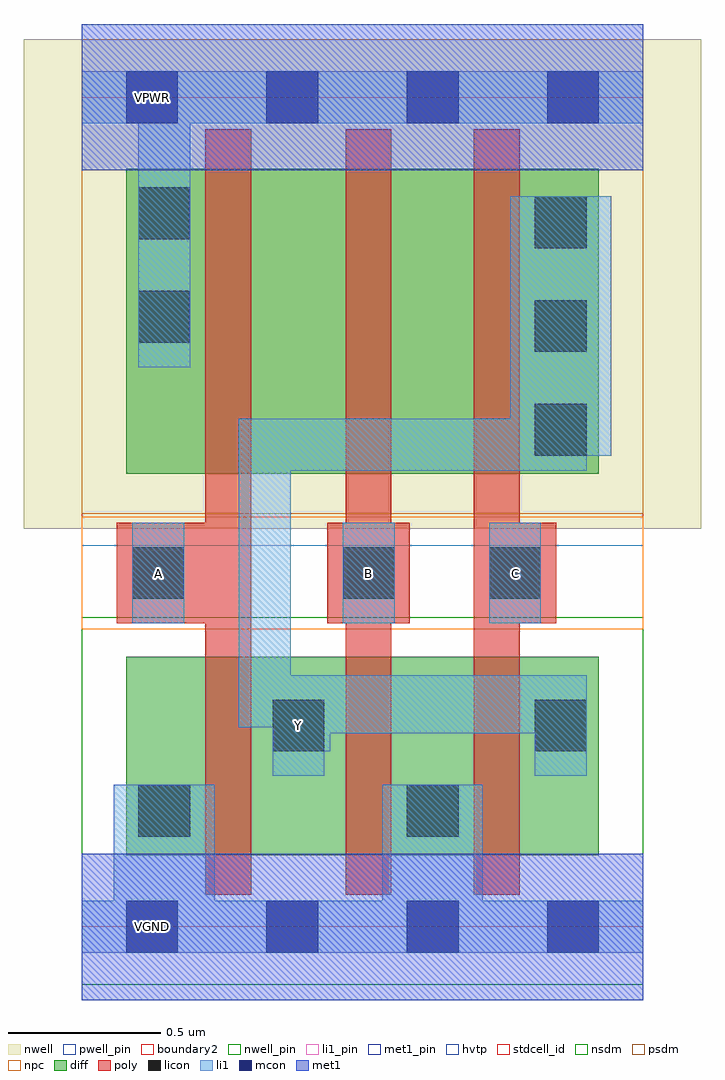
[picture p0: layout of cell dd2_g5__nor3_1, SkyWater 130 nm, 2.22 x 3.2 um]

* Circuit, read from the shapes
.subckt dd2_g5__nor3_1 A B C VGND VNB VPB VPWR Y
XM1 Y A VGND VNB sky130_fd_pr__nfet_01v8 w=0.65 l=0.15
XM2 VGND B Y VNB sky130_fd_pr__nfet_01v8 w=0.65 l=0.15
XM3 Y C VGND VNB sky130_fd_pr__nfet_01v8 w=0.65 l=0.15
XM4 n1 A VPWR VPB sky130_fd_pr__pfet_01v8_hvt w=1 l=0.15
XM5 n2 B n1 VPB sky130_fd_pr__pfet_01v8_hvt w=1 l=0.15
XM6 Y C n2 VPB sky130_fd_pr__pfet_01v8_hvt w=1 l=0.15
.ends

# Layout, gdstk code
import gdstk
lib = gdstk.Library(unit=1e-6, precision=1e-09)
def R(c, l, rs):  # rectangles x0, y0, x1, y1
    for r in rs: c.add(gdstk.rectangle(r[:2], r[2:], *l))
def A(c, l, x, y, w, h, nx, ny, dx, dy):  # array of equal rectangles
    R(c, l, [(x+i*dx, y+j*dy, x+i*dx+w, y+j*dy+h) for i in range(nx) for j in range(ny)])
nwell_pin = (64, 16)
nwell = (64, 20)
diff = (65, 20)
poly = (66, 20)
licon = (66, 44)
li1_pin = (67, 16)
li1 = (67, 20)
mcon = (67, 44)
met1_pin = (68, 16)
met1 = (68, 20)
hvtp = (78, 44)
stdcell_id = (81, 4)
nsdm = (93, 44)
psdm = (94, 20)
npc = (95, 20)
pwell_pin = (122, 16)
boundary2 = (236, 0)

dd2_g5__nor3_1 = lib.new_cell('dd2_g5__nor3_1')
R(dd2_g5__nor3_1, nwell_pin, [(0.145,2.635,0.315,2.805)])
R(dd2_g5__nor3_1, nwell, [(-0.19,1.305,2.03,2.91)])
R(dd2_g5__nor3_1, diff, [(0.145,0.235,0.94,0.885), (0.48,0.235,1.36,0.885), (0.94,0.235,1.695,0.885), (0.145,1.485,0.94,2.485), (0.48,1.485,1.36,2.485), (0.94,1.485,1.695,2.485)])
R(dd2_g5__nor3_1, poly, [(0.405,0.105,0.555,2.615), (0.865,0.105,1.015,2.615), (1.285,0.105,1.435,2.615), (0.115,0.995,0.555,1.325), (0.805,0.995,1.075,1.325), (1.285,0.995,1.555,1.325)])
A(dd2_g5__nor3_1, licon, 1.485, 1.545, 0.17, 0.17, 1, 3, 0, 0.34)
R(dd2_g5__nor3_1, licon, [(0.185,0.295,0.355,0.465), (1.065,0.295,1.235,0.465), (0.625,0.575,0.795,0.745), (1.485,0.575,1.655,0.745), (0.165,1.075,0.335,1.245), (0.855,1.075,1.025,1.245), (1.335,1.075,1.505,1.245), (0.185,1.915,0.355,2.085), (0.185,2.255,0.355,2.425)])
R(dd2_g5__nor3_1, li1_pin, [(0.145,-0.085,0.315,0.085), (0.635,0.585,0.785,0.735), (0.175,1.085,0.325,1.235), (0.865,1.085,1.015,1.235), (1.345,1.085,1.495,1.235), (0.145,2.635,0.315,2.805)])
R(dd2_g5__nor3_1, li1, [(0,-0.085,1.84,0.085), (0.105,0.085,0.435,0.465), (0.985,0.085,1.315,0.465), (0.625,0.495,0.795,0.575), (1.485,0.495,1.655,0.635), (0.625,0.575,0.815,0.635), (0.625,0.635,1.655,0.655), (0.515,0.655,1.655,0.825), (0.515,0.825,0.685,1.495), (0.165,0.995,0.335,1.325), (0.855,0.995,1.025,1.325), (1.335,0.995,1.505,1.325), (0.515,1.495,1.655,1.545), (0.515,1.545,1.735,1.665), (1.405,1.665,1.735,2.395), (0.185,1.835,0.355,2.635), (0,2.635,1.84,2.805)])
A(dd2_g5__nor3_1, mcon, 0.145, -0.085, 0.17, 0.17, 4, 2, 0.46, 2.72)
R(dd2_g5__nor3_1, met1_pin, [(0.145,-0.085,0.315,0.085), (0.145,2.635,0.315,2.805)])
R(dd2_g5__nor3_1, met1, [(0,-0.24,1.84,0.24), (0,2.48,1.84,2.96)])
R(dd2_g5__nor3_1, hvtp, [(0,1.25,1.84,2.72)])
R(dd2_g5__nor3_1, stdcell_id, [(0,0,1.84,2.72)])
R(dd2_g5__nor3_1, nsdm, [(0,-0.19,1.84,1.015)])
R(dd2_g5__nor3_1, psdm, [(0,1.355,1.84,2.91)])
R(dd2_g5__nor3_1, npc, [(0,0.975,1.84,1.345)])
R(dd2_g5__nor3_1, pwell_pin, [(0.145,-0.085,0.315,0.085)])
R(dd2_g5__nor3_1, boundary2, [(0,0,1.84,2.72)])
dd2_g5__nor3_1.add(gdstk.Label('VPWR', (0.23,2.72), layer=68, texttype=5))
dd2_g5__nor3_1.add(gdstk.Label('VGND', (0.23,0), layer=68, texttype=5))
dd2_g5__nor3_1.add(gdstk.Label('VPWR', (0.23,2.72), layer=67, texttype=5))
dd2_g5__nor3_1.add(gdstk.Label('VGND', (0.23,0), layer=67, texttype=5))
dd2_g5__nor3_1.add(gdstk.Label('A', (0.25,1.16), layer=67, texttype=5))
dd2_g5__nor3_1.add(gdstk.Label('B', (0.94,1.16), layer=67, texttype=5))
dd2_g5__nor3_1.add(gdstk.Label('C', (1.42,1.16), layer=67, texttype=5))
dd2_g5__nor3_1.add(gdstk.Label('Y', (0.71,0.66), layer=67, texttype=5))
dd2_g5__nor3_1.add(gdstk.Label('VPB', (0.23,2.72), layer=64, texttype=5))
dd2_g5__nor3_1.add(gdstk.Label('VNB', (0.23,0), layer=64, texttype=59))

lib.write_gds('dd2_g5__nor3_1.gds')
